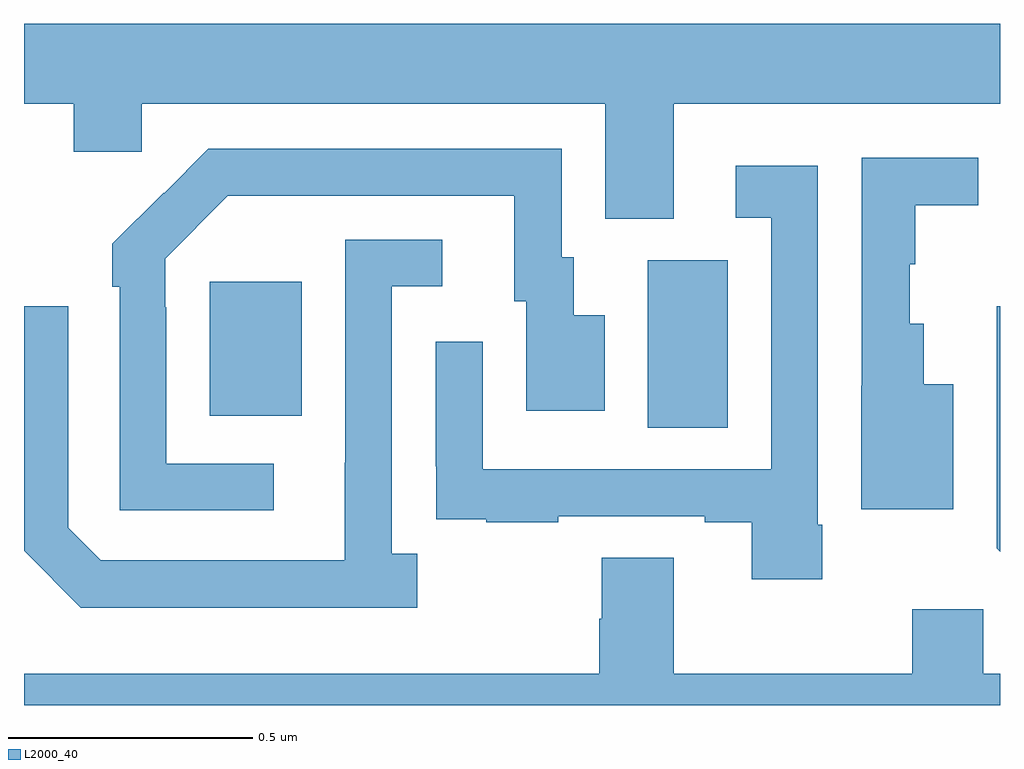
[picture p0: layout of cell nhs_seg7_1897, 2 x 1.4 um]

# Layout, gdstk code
import gdstk
lib = gdstk.Library(unit=1e-6, precision=1e-09)
def R(c, l, rs):  # rectangles x0, y0, x1, y1
    for r in rs: c.add(gdstk.rectangle(r[:2], r[2:], *l))
def P(c, l, *ps):  # polygons
    for p in ps: c.add(gdstk.Polygon(p, *l))
L2000_40 = (2000, 40)

nhs_seg7_1897 = lib.new_cell('nhs_seg7_1897')
R(nhs_seg7_1897, L2000_40, [(138.278,1050.568,138.442,1050.912), (137.381,1050.593,137.569,1050.868)])
P(nhs_seg7_1897, L2000_40, [(138.331,1051.232),(139,1051.232),(139,1051.396),(137,1051.396),(137,1051.232),(137.102,1051.232),(137.102,1051.134),(137.241,1051.134),(137.241,1051.232),(138.191,1051.232),(138.191,1050.997),(138.331,1050.997)],
  [(137.512,1050.495),(137.292,1050.495),(137.292,1050.815),(137.289,1050.815),(137.289,1050.915),(137.418,1051.044),(138.005,1051.044),(138.005,1050.828),(138.029,1050.828),(138.029,1050.603),(138.19,1050.603),(138.19,1050.799),(138.127,1050.799),(138.127,1050.918),(138.102,1050.918),(138.102,1051.14),(137.378,1051.14),(137.287,1051.049),(137.286,1051.05),(137.181,1050.945),(137.181,1050.857),(137.196,1050.857),(137.196,1050.399),(137.512,1050.399)],
  [(138.904,1050.658),(138.844,1050.658),(138.844,1050.781),(138.815,1050.781),(138.815,1050.903),(138.826,1050.903),(138.826,1051.024),(138.955,1051.024),(138.955,1051.122),(138.717,1051.122),(138.717,1050.654),(138.716,1050.654),(138.716,1050.401),(138.904,1050.401)],
  [(138.636,1050.37),(138.627,1050.37),(138.627,1051.105),(138.459,1051.105),(138.459,1050.999),(138.531,1050.999),(138.531,1050.483),(137.94,1050.483),(137.94,1050.745),(137.844,1050.745),(137.844,1050.49),(137.845,1050.49),(137.845,1050.381),(137.947,1050.381),(137.947,1050.375),(138.095,1050.375),(138.095,1050.387),(138.395,1050.387),(138.395,1050.375),(138.491,1050.375),(138.491,1050.258),(138.636,1050.258)],
  [(137.806,1050.31),(137.754,1050.31),(137.754,1050.858),(137.857,1050.858),(137.857,1050.954),(137.658,1050.954),(137.658,1050.497),(137.657,1050.497),(137.657,1050.297),(137.157,1050.297),(137.091,1050.363),(137.091,1050.817),(137,1050.817),(137,1050.316),(137.116,1050.2),(137.806,1050.2)],
  [(139,1050.817),(138.993,1050.817),(138.993,1050.321),(139,1050.314)],
  [(139,1050.064),(138.966,1050.064),(138.966,1050.196),(138.82,1050.196),(138.82,1050.064),(138.331,1050.064),(138.331,1050.302),(138.184,1050.302),(138.184,1050.177),(138.179,1050.177),(138.179,1050.064),(137,1050.064),(137,1050),(139,1050)])

lib.write_gds('nhs_seg7_1897.gds')
